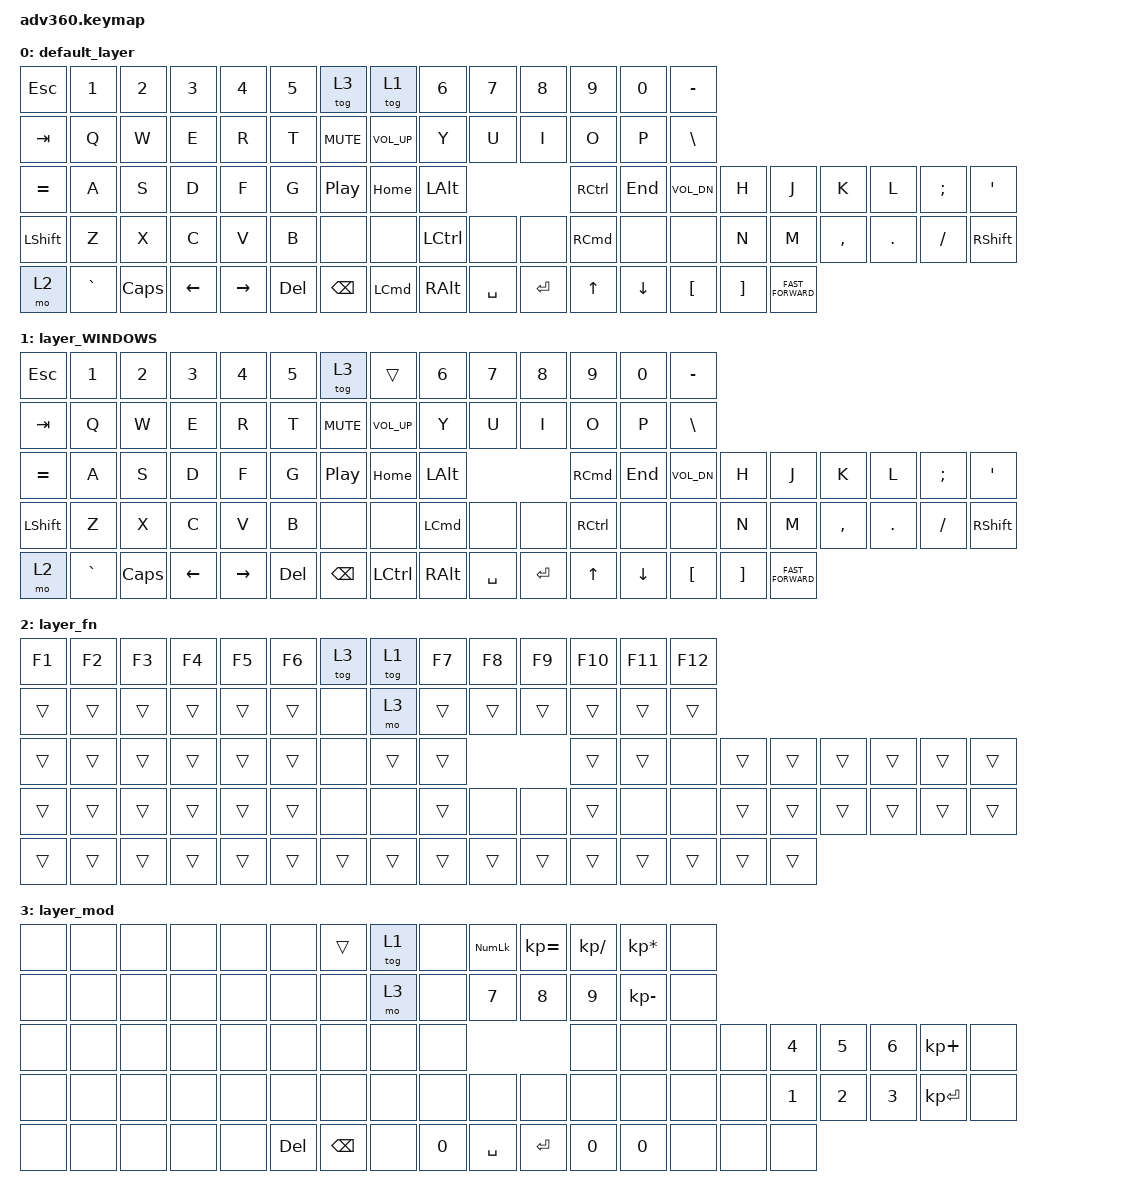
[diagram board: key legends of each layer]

/*
 * Copyright (c) 2020 The ZMK Contributors
 *
 * SPDX-License-Identifier: MIT
 */


/* THIS FILE WAS GENERATED!
 *
 * This file was generated automatically. You may or may not want to
 * edit it directly.
 */

#include <behaviors.dtsi>
#include <dt-bindings/zmk/keys.h>

/ {
  behaviors {
    #include "macros.dtsi"
    #include "version.dtsi"

    hm: homerow_mods {
        compatible = "zmk,behavior-hold-tap";
        label = "HOMEROW_MODS";
        #binding-cells = <2>;
        tapping-term-ms = <200>;
        quick_tap_ms = <175>;
        flavor = "tap-preferred";
        bindings = <&kp>, <&kp>;
    };
  };

    keymap {
        compatible = "zmk,keymap";


        default_layer {
            bindings = <
   &kp ESC     &kp N1    &kp N2    &kp N3     &kp N4   &kp N5                &tog 3            &tog 1         &kp N6     &kp N7     &kp N8             &kp N9    &kp N0     &kp MINUS
   &kp TAB      &kp Q     &kp W     &kp E      &kp R    &kp T            &kp C_MUTE      &kp C_VOL_UP          &kp Y      &kp U      &kp I              &kp O     &kp P      &kp BSLH
 &kp EQUAL      &kp A     &kp S     &kp D      &kp F    &kp G              &kp C_PP          &kp HOME   &kp LEFT_ALT                                &kp RCTRL   &kp END  &kp C_VOL_DN     &kp H               &kp J      &kp K    &kp L  &kp SEMI    &kp SQT
 &kp LSHFT      &kp Z     &kp X     &kp C      &kp V    &kp B                 &none             &none      &kp LCTRL      &none      &none  &kp RIGHT_COMMAND     &none         &none     &kp N               &kp M  &kp COMMA  &kp DOT  &kp FSLH  &kp RSHFT
     &mo 2  &kp GRAVE  &kp CAPS  &kp LEFT  &kp RIGHT  &kp DEL              &kp BSPC  &kp LEFT_COMMAND  &kp RIGHT_ALT  &kp SPACE  &kp ENTER             &kp UP  &kp DOWN      &kp LBKT  &kp RBKT  &kp C_FAST_FORWARD
            >;
        };

        layer_WINDOWS {
            bindings = <
   &kp ESC     &kp N1    &kp N2    &kp N3     &kp N4      &kp N5                &tog 3            &trans            &kp N6  &kp NUMBER_7  &kp NUMBER_8       &kp NUMBER_9  &kp NUMBER_0     &kp MINUS
   &kp TAB      &kp Q     &kp W     &kp E      &kp R       &kp T            &kp C_MUTE   &kp C_VOLUME_UP             &kp Y         &kp U         &kp I              &kp O         &kp P      &kp BSLH
 &kp EQUAL      &kp A     &kp S     &kp D      &kp F       &kp G              &kp C_PP          &kp HOME      &kp LEFT_ALT                              &kp RIGHT_COMMAND       &kp END  &kp C_VOL_DN     &kp H               &kp J      &kp K       &kp L  &kp SEMICOLON    &kp SQT
 &kp LSHFT      &kp Z     &kp X     &kp C      &kp V       &kp B                 &none             &none  &kp LEFT_COMMAND         &none         &none  &kp RIGHT_CONTROL         &none         &none     &kp N               &kp M  &kp COMMA  &kp PERIOD       &kp FSLH  &kp RSHFT
     &mo 2  &kp GRAVE  &kp CAPS  &kp LEFT  &kp RIGHT  &kp DELETE              &kp BSPC  &kp LEFT_CONTROL     &kp RIGHT_ALT     &kp SPACE     &kp ENTER             &kp UP      &kp DOWN      &kp LBKT  &kp RBKT  &kp C_FAST_FORWARD
            >;
        };

        layer_fn {
            bindings = <
 &kp F1  &kp F2  &kp F3  &kp F4  &kp F5  &kp F6            &tog 3  &tog 1  &kp F7  &kp F8  &kp F9  &kp F10  &kp F11  &kp F12
 &trans  &trans  &trans  &trans  &trans  &trans             &none   &mo 3  &trans  &trans  &trans   &trans   &trans   &trans
 &trans  &trans  &trans  &trans  &trans  &trans             &none  &trans  &trans                   &trans   &trans    &none  &trans  &trans  &trans  &trans  &trans  &trans
 &trans  &trans  &trans  &trans  &trans  &trans             &none   &none  &trans   &none   &none   &trans    &none    &none  &trans  &trans  &trans  &trans  &trans  &trans
 &trans  &trans  &trans  &trans  &trans  &trans            &trans  &trans  &trans  &trans  &trans   &trans   &trans   &trans  &trans  &trans
            >;
        };

        layer_mod {
            bindings = <
  &none   &none   &none   &none   &none       &none                   &trans  &tog 1         &none    &kp KP_NUM  &kp KP_EQUAL  &kp KP_SLASH  &kp KP_MULTIPLY   &none
  &none   &none   &none   &none   &none       &none                    &none   &mo 3         &none  &kp NUMBER_7  &kp NUMBER_8  &kp NUMBER_9     &kp KP_MINUS   &none
  &none   &none   &none   &none   &none       &none                    &none   &none         &none                                     &none            &none   &none   &none  &kp NUMBER_4  &kp NUMBER_5  &kp NUMBER_6   &kp KP_PLUS   &none
  &none   &none   &none   &none   &none       &none                    &none   &none         &none         &none         &none         &none            &none   &none   &none  &kp NUMBER_1  &kp NUMBER_2  &kp NUMBER_3  &kp KP_ENTER   &none
  &none   &none   &none   &none   &none  &kp DELETE            &kp BACKSPACE   &none  &kp NUMBER_0     &kp SPACE     &kp ENTER  &kp NUMBER_0     &kp NUMBER_0   &none   &none         &none
            >;
        };

    };
};
